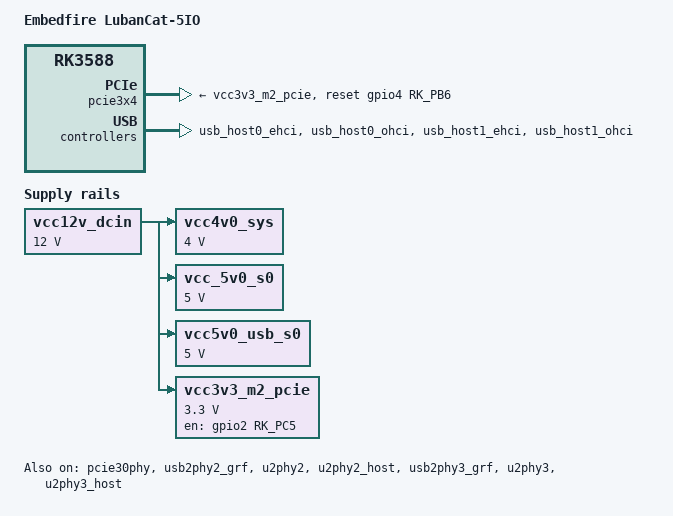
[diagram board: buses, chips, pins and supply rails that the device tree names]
// SPDX-License-Identifier: (GPL-2.0+ OR MIT)
/*
 * Copyright (c) 2021 Rockchip Electronics Co., Ltd
 *
 */

/dts-v1/;
#include "rk3588.dtsi"
#include "rk3588-u-boot.dtsi"
#include <dt-bindings/input/input.h>

/ {
	model = "Embedfire LubanCat-5IO";
	compatible = "rockchip,rk3588s-lubancat-5io", "rockchip,rk3588";

	vcc12v_dcin: vcc12v-dcin {
		u-boot,dm-pre-reloc;
		compatible = "regulator-fixed";
		regulator-always-on;
		regulator-boot-on;
		regulator-min-microvolt = <12000000>;
		regulator-max-microvolt = <12000000>;
		regulator-name = "vcc12v_dcin";
	};

	vcc4v0_sys: vcc4v0-sys {
		u-boot,dm-pre-reloc;
		compatible = "regulator-fixed";
		regulator-name = "vcc4v0_sys";
		regulator-always-on;
		regulator-boot-on;
		regulator-min-microvolt = <4000000>;
		regulator-max-microvolt = <4000000>;
		vin-supply = <&vcc12v_dcin>;
	};

	vcc_5v0_s0: vcc-5v0-s0 {
		u-boot,dm-pre-reloc;
		compatible = "regulator-fixed";
		regulator-name = "vcc_5v0_s0";
		regulator-always-on;
		regulator-boot-on;
		regulator-min-microvolt = <5000000>;
		regulator-max-microvolt = <5000000>;
		vin-supply = <&vcc12v_dcin>;
	};

	vcc5v0_usb_s0: vcc5v0-usb-s0 {
		u-boot,dm-pre-reloc;
		compatible = "regulator-fixed";
		regulator-name = "vcc5v0_usb_s0";
		regulator-always-on;
		regulator-boot-on;
		regulator-min-microvolt = <5000000>;
		regulator-max-microvolt = <5000000>;
		vin-supply = <&vcc12v_dcin>;
	};

	vcc3v3_m2_pcie: vcc3v3-m2-pcie {
		u-boot,dm-pre-reloc;
		compatible = "regulator-fixed";
		regulator-name = "vcc3v3_m2_pcie";
		regulator-min-microvolt = <3300000>;
		regulator-max-microvolt = <3300000>;
		regulator-always-on;
		enable-active-high;
		regulator-boot-on;
		gpio = <&gpio2 RK_PC5 GPIO_ACTIVE_HIGH>;
		vin-supply = <&vcc12v_dcin>;
		pinctrl-names = "default";
		pinctrl-0 = <&vcc3v3_m2_pcie_en>;
	};
};

&pcie30phy {
	u-boot,dm-pre-reloc;
	status = "okay";
};

&pcie3x4 {
	u-boot,dm-pre-reloc;
	vpcie3v3-supply = <&vcc3v3_m2_pcie>;
	reset-gpios = <&gpio4 RK_PB6 GPIO_ACTIVE_HIGH>;
	status = "okay";
};

&usb_host0_ehci {
	status = "okay";
	u-boot,dm-pre-reloc;
};

&usb_host0_ohci {
	status = "okay";
	u-boot,dm-pre-reloc;
};

&usb2phy2_grf {
	status = "okay";
	u-boot,dm-pre-reloc;
};

&u2phy2 {
	status = "okay";
	u-boot,dm-pre-reloc;
};

&u2phy2_host {
	status = "okay";
	u-boot,dm-pre-reloc;
};

&usb_host1_ehci {
	status = "okay";
	u-boot,dm-pre-reloc;
};

&usb_host1_ohci {
	status = "okay";
	u-boot,dm-pre-reloc;
};

&usb2phy3_grf {
	status = "okay";
	u-boot,dm-pre-reloc;
};

&u2phy3 {
	status = "okay";
	u-boot,dm-pre-reloc;
};

&u2phy3_host {
	status = "okay";
	u-boot,dm-pre-reloc;
};

&sfc {
	status = "disabled";
	pinctrl-names = "default";
	pinctrl-0 = <&fspim0_pins>;
};

&spi_nor {
	status = "disabled";
};

&pinctrl {

	/delete-node/ fspi;
	fspi {
		u-boot,dm-spl;
		fspim0_pins: fspim0-pins {
			u-boot,dm-spl;
			rockchip,pins =
				/* fspi_clk_m0 */
				<2 RK_PA0 2 &pcfg_pull_none>,
				/* fspi_cs0n_m0 */
				<2 RK_PD6 2 &pcfg_pull_none>,
				/* fspi_d0_m0 */
				<2 RK_PD0 2 &pcfg_pull_none>,
				/* fspi_d1_m0 */
				<2 RK_PD1 2 &pcfg_pull_none>,
				/* fspi_d2_m0 */
				<2 RK_PD2 2 &pcfg_pull_none>,
				/* fspi_d3_m0 */
				<2 RK_PD3 2 &pcfg_pull_none>;
		};
	};

	pcie {
		u-boot,dm-spl;
		vcc3v3_m2_pcie_en: vcc3v3-m2-pcie-en {
			u-boot,dm-spl;
			rockchip,pins = <2 RK_PC5 RK_FUNC_GPIO &pcfg_pull_none>;
		};
	};
};
